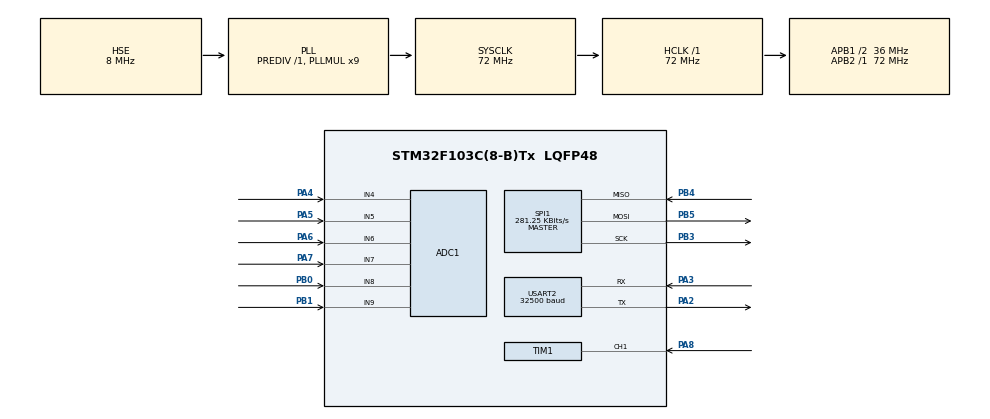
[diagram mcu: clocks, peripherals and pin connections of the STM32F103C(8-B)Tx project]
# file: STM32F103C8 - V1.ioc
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ADC1.Channel-2\#ChannelRegularConversion=ADC_CHANNEL_4
ADC1.NbrOfConversionFlag=1
ADC1.Rank-2\#ChannelRegularConversion=1
ADC1.SamplingTime-2\#ChannelRegularConversion=ADC_SAMPLETIME_1CYCLE_5
ADC1.master=1
Mcu.Family=STM32F1
Mcu.Name=STM32F103C(8-B)Tx
Mcu.Package=LQFP48
NVIC.PriorityGroup=NVIC_PRIORITYGROUP_2
PA2.Mode=Asynchronous
PA2.Signal=USART2_TX
PA3.Mode=Asynchronous
PA3.Signal=USART2_RX
PA4.Signal=ADCx_IN4
PA5.Signal=ADCx_IN5
PA6.Signal=ADCx_IN6
PA7.Signal=ADCx_IN7
PA8.Signal=S_TIM1_CH1
PB0.Signal=ADCx_IN8
PB1.Signal=ADCx_IN9
PB3.Mode=Full_Duplex_Master
PB3.Signal=SPI1_SCK
PB4.Mode=Full_Duplex_Master
PB4.Signal=SPI1_MISO
PB5.Mode=Full_Duplex_Master
PB5.Signal=SPI1_MOSI
PD0-OSC_IN.Mode=HSE-External-Oscillator
PD0-OSC_IN.Signal=RCC_OSC_IN
PD1-OSC_OUT.Mode=HSE-External-Oscillator
PD1-OSC_OUT.Signal=RCC_OSC_OUT
ProjectManager.HeapSize=0x200
ProjectManager.StackSize=0x400
ProjectManager.TargetToolchain=SW4STM32
RCC.ADCPresc=RCC_ADCPCLK2_DIV6
RCC.AHBFreq_Value=72000000
RCC.APB1CLKDivider=RCC_HCLK_DIV2
RCC.APB1Freq_Value=36000000
RCC.APB1TimFreq_Value=72000000
RCC.APB2Freq_Value=72000000
RCC.APB2TimFreq_Value=72000000
RCC.HCLKFreq_Value=72000000
RCC.PLLMUL=RCC_PLL_MUL9
RCC.PLLSourceVirtual=RCC_PLLSOURCE_HSE
RCC.SYSCLKFreq_VALUE=72000000
RCC.SYSCLKSource=RCC_SYSCLKSOURCE_PLLCLK
RCC.USBFreq_Value=72000000
SH.ADCx_IN4.0=ADC1_IN4,IN4
SH.ADCx_IN5.0=ADC1_IN5,IN5
SH.ADCx_IN6.0=ADC1_IN6,IN6
SH.ADCx_IN7.0=ADC1_IN7,IN7
SH.ADCx_IN8.0=ADC1_IN8,IN8
SH.ADCx_IN9.0=ADC1_IN9,IN9
SH.S_TIM1_CH1.0=TIM1_CH1,Input_Capture1_from_TI1
SPI1.BaudRatePrescaler=SPI_BAUDRATEPRESCALER_256
SPI1.CLKPolarity=SPI_POLARITY_HIGH
SPI1.CalculateBaudRate=281.25 KBits/s
SPI1.Direction=SPI_DIRECTION_2LINES
SPI1.Mode=SPI_MODE_MASTER
SPI1.VirtualType=VM_MASTER
TIM1.Channel-Input_Capture1_from_TI1=TIM_CHANNEL_1
TIM1.ICPolarity_CH1=TIM_INPUTCHANNELPOLARITY_FALLING
USART2.BaudRate=32500
USART2.VirtualMode=VM_ASYNC
VP_SYS_VS_ND.Mode=No_Debug
board=custom

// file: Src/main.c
/* USER CODE BEGIN Header */
/**
  ******************************************************************************
  * @file			main.c
  * @brief        	Header for main.c file.
  *               	This file contains the common defines of the application.
  * @version		V1.00
  * @authors		Oehlers, van Renswoude and Schotborgh
  * @date			06-01-2020
  ******************************************************************************
  * @details
  ******************************************************************************
*/
/* USER CODE END Header */

#include "main.h"

/* USER CODE BEGIN Includes */
#include "includes.h"
/* USER CODE END Includes */

/* USER CODE BEGIN PV */
uint8_t ReceiveFlag = FALSE; 	/**< flag to indicate whether a uart message is received */
uint8_t data;				 	/**< byte for storing the received uart data */

/* USER CODE END PV */

void SystemClock_Config(void);
static void MX_GPIO_Init(void);
static void MX_ADC1_Init(void);
static void MX_USART2_UART_Init(void);
static void MX_SPI1_Init(void);
static void MX_TIM1_Init(void);
/* USER CODE BEGIN PFP */
void GPIO_Init(void);

/* USER CODE END PFP */

void main(void)
{

  /* MCU Configuration--------------------------------------------------------*/

  /* Reset of all peripherals, Initializes the Flash interface and the Systick. */
  HAL_Init();

  /* Configure the system clock */
  SystemClock_Config();

  /* Initialize all configured peripherals */
  MX_GPIO_Init();
  MX_ADC1_Init();
  MX_USART2_UART_Init();
  MX_SPI1_Init();
  MX_TIM1_Init();
  /* USER CODE BEGIN 2 */
	GPIO_Init();
	//YM_RESET();  // reset the YM3812 chips
	//YM_SET_Def(); // set the default settings for the YM3812 chips
	//HAL_Delay(200);
	//HAL_UART_Receive_IT(&huart2, &data, 1); // enable the receive under interrupt mode for UART2

  /* USER CODE END 2 */
  /* Infinite loop */
	while (1)
	{

	}
}

void SystemClock_Config(void)
{
  RCC_OscInitTypeDef RCC_OscInitStruct = {0};
  RCC_ClkInitTypeDef RCC_ClkInitStruct = {0};
  RCC_PeriphCLKInitTypeDef PeriphClkInit = {0};

  /** Initializes the CPU, AHB and APB busses clocks
  */
  RCC_OscInitStruct.OscillatorType = RCC_OSCILLATORTYPE_HSE;
  RCC_OscInitStruct.HSEState = RCC_HSE_ON;
  RCC_OscInitStruct.HSEPredivValue = RCC_HSE_PREDIV_DIV1;
  RCC_OscInitStruct.HSIState = RCC_HSI_ON;
  RCC_OscInitStruct.PLL.PLLState = RCC_PLL_ON;
  RCC_OscInitStruct.PLL.PLLSource = RCC_PLLSOURCE_HSE;
  RCC_OscInitStruct.PLL.PLLMUL = RCC_PLL_MUL9;
  if (HAL_RCC_OscConfig(&RCC_OscInitStruct) != HAL_OK)
  {
    Error_Handler();
  }
  /** Initializes the CPU, AHB and APB busses clocks
  */
  RCC_ClkInitStruct.ClockType = RCC_CLOCKTYPE_HCLK|RCC_CLOCKTYPE_SYSCLK
                              |RCC_CLOCKTYPE_PCLK1|RCC_CLOCKTYPE_PCLK2;
  RCC_ClkInitStruct.SYSCLKSource = RCC_SYSCLKSOURCE_PLLCLK;
  RCC_ClkInitStruct.AHBCLKDivider = RCC_SYSCLK_DIV1;
  RCC_ClkInitStruct.APB1CLKDivider = RCC_HCLK_DIV2;
  RCC_ClkInitStruct.APB2CLKDivider = RCC_HCLK_DIV1;

  if (HAL_RCC_ClockConfig(&RCC_ClkInitStruct, FLASH_LATENCY_2) != HAL_OK)
  {
    Error_Handler();
  }
  PeriphClkInit.PeriphClockSelection = RCC_PERIPHCLK_ADC;
  PeriphClkInit.AdcClockSelection = RCC_ADCPCLK2_DIV6;
  if (HAL_RCCEx_PeriphCLKConfig(&PeriphClkInit) != HAL_OK)
  {
    Error_Handler();
  }
}

static void MX_ADC1_Init(void)
{

  /* USER CODE BEGIN ADC1_Init 0 */
  // hadc1 struct voor oproepen ADC
  /* USER CODE END ADC1_Init 0 */

  ADC_ChannelConfTypeDef sConfig = {0};

  /** Common config
  */
  hadc1.Instance = ADC1;
  hadc1.Init.ScanConvMode = ADC_SCAN_DISABLE;
  hadc1.Init.ContinuousConvMode = DISABLE;
  hadc1.Init.DiscontinuousConvMode = DISABLE;
  hadc1.Init.ExternalTrigConv = ADC_SOFTWARE_START;
  hadc1.Init.DataAlign = ADC_DATAALIGN_RIGHT;
  hadc1.Init.NbrOfConversion = 1;
  if (HAL_ADC_Init(&hadc1) != HAL_OK)
  {
    Error_Handler();
  }
  /** Configure Regular Channel
  */
  sConfig.Channel = ADC_CHANNEL_4;
  sConfig.Rank = ADC_REGULAR_RANK_1;
  sConfig.SamplingTime = ADC_SAMPLETIME_1CYCLE_5;
  if (HAL_ADC_ConfigChannel(&hadc1, &sConfig) != HAL_OK)
  {
    Error_Handler();
  }

}

static void MX_SPI1_Init(void)
{

  /* SPI1 parameter configuration*/
  hspi1.Instance = SPI1;
  hspi1.Init.Mode = SPI_MODE_MASTER;
  hspi1.Init.Direction = SPI_DIRECTION_2LINES;
  hspi1.Init.DataSize = SPI_DATASIZE_8BIT;
  hspi1.Init.CLKPolarity = SPI_POLARITY_LOW;
  hspi1.Init.CLKPhase = SPI_PHASE_1EDGE;
  hspi1.Init.NSS = SPI_NSS_SOFT;
  hspi1.Init.BaudRatePrescaler = SPI_BAUDRATEPRESCALER_256;
  hspi1.Init.FirstBit = SPI_FIRSTBIT_MSB;
  hspi1.Init.TIMode = SPI_TIMODE_DISABLE;
  hspi1.Init.CRCCalculation = SPI_CRCCALCULATION_DISABLE;
  hspi1.Init.CRCPolynomial = 10;
  if (HAL_SPI_Init(&hspi1) != HAL_OK)
  {
    Error_Handler();
  }
  /* USER CODE BEGIN SPI1_Init 2 */
  HAL_NVIC_SetPriority(SPI1_IRQn, 1, 1); //<--------------------
  HAL_NVIC_EnableIRQ(SPI1_IRQn);
  /* USER CODE END SPI1_Init 2 */

}

static void MX_TIM1_Init(void)
{

  TIM_MasterConfigTypeDef sMasterConfig = {0};
  TIM_IC_InitTypeDef sConfigIC = {0};

  htim1.Instance = TIM1;
  htim1.Init.Prescaler = 0;
  htim1.Init.CounterMode = TIM_COUNTERMODE_UP;
  htim1.Init.Period = 0;
  htim1.Init.ClockDivision = TIM_CLOCKDIVISION_DIV1;
  htim1.Init.RepetitionCounter = 0;
  htim1.Init.AutoReloadPreload = TIM_AUTORELOAD_PRELOAD_DISABLE;
  if (HAL_TIM_IC_Init(&htim1) != HAL_OK)
  {
    Error_Handler();
  }
  sMasterConfig.MasterOutputTrigger = TIM_TRGO_RESET;
  sMasterConfig.MasterSlaveMode = TIM_MASTERSLAVEMODE_DISABLE;
  if (HAL_TIMEx_MasterConfigSynchronization(&htim1, &sMasterConfig) != HAL_OK)
  {
    Error_Handler();
  }
  sConfigIC.ICPolarity = TIM_INPUTCHANNELPOLARITY_FALLING;
  sConfigIC.ICSelection = TIM_ICSELECTION_DIRECTTI;
  sConfigIC.ICPrescaler = TIM_ICPSC_DIV1;
  sConfigIC.ICFilter = 0;
  if (HAL_TIM_IC_ConfigChannel(&htim1, &sConfigIC, TIM_CHANNEL_1) != HAL_OK)
  {
    Error_Handler();
  }

}

static void MX_USART2_UART_Init(void)
{

  huart2.Instance = USART2;
  huart2.Init.BaudRate = 32500;
  huart2.Init.WordLength = UART_WORDLENGTH_8B;
  huart2.Init.StopBits = UART_STOPBITS_1;
  huart2.Init.Parity = UART_PARITY_NONE;
  huart2.Init.Mode = UART_MODE_TX_RX;
  huart2.Init.HwFlowCtl = UART_HWCONTROL_NONE;
  huart2.Init.OverSampling = UART_OVERSAMPLING_16;
  if (HAL_UART_Init(&huart2) != HAL_OK)
  {
    Error_Handler();
  }
  /* USER CODE BEGIN USART2_Init 2 */

  HAL_NVIC_SetPriority(USART2_IRQn, 0, 0);
  HAL_NVIC_EnableIRQ(USART2_IRQn);

  /* USER CODE END USART2_Init 2 */

}

static void MX_GPIO_Init(void)
{

  /* GPIO Ports Clock Enable */
  __HAL_RCC_GPIOD_CLK_ENABLE();
  __HAL_RCC_GPIOA_CLK_ENABLE();
  __HAL_RCC_GPIOB_CLK_ENABLE();

}

/* USER CODE BEGIN 4 */
/**
  ******************************************************************************
  * @brief			The application entry point.
  * @headerfile x.h ""
  * @param 			None
  * @val
  * @return None
  ******************************************************************************
  * @details
  ******************************************************************************
  */
void GPIO_Init()
{
	GPIO_InitTypeDef GPIO_InitStruct = {0};

	// ADC1_IN0
	GPIO_InitStruct.Pin = GPIO_PIN_0;
	GPIO_InitStruct.Mode = GPIO_MODE_ANALOG;
	GPIO_InitStruct.Pull = GPIO_NOPULL;
	HAL_GPIO_Init(GPIOA, &GPIO_InitStruct);

	// ADC1_IN1
	GPIO_InitStruct.Pin = GPIO_PIN_1;
	GPIO_InitStruct.Mode = GPIO_MODE_ANALOG;
	GPIO_InitStruct.Pull = GPIO_NOPULL;
	HAL_GPIO_Init(GPIOA, &GPIO_InitStruct);

	// ADC1_IN4
	GPIO_InitStruct.Pin = GPIO_PIN_4;
	GPIO_InitStruct.Mode = GPIO_MODE_ANALOG;
	GPIO_InitStruct.Pull = GPIO_NOPULL;
	HAL_GPIO_Init(GPIOA, &GPIO_InitStruct);

	// ADC1_IN5
	GPIO_InitStruct.Pin = GPIO_PIN_5;
	GPIO_InitStruct.Mode = GPIO_MODE_ANALOG;
	GPIO_InitStruct.Pull = GPIO_NOPULL;
	HAL_GPIO_Init(GPIOA, &GPIO_InitStruct);

	// ADC1_IN6
	GPIO_InitStruct.Pin = GPIO_PIN_6;
	GPIO_InitStruct.Mode = GPIO_MODE_ANALOG;
	GPIO_InitStruct.Pull = GPIO_PULLUP;
	HAL_GPIO_Init(GPIOA, &GPIO_InitStruct);

	// ADC1_IN7
	GPIO_InitStruct.Pin = GPIO_PIN_7;
	GPIO_InitStruct.Mode = GPIO_MODE_ANALOG;
	GPIO_InitStruct.Pull = GPIO_NOPULL;
	HAL_GPIO_Init(GPIOA, &GPIO_InitStruct);

	// ADC1_IN8
	GPIO_InitStruct.Pin = GPIO_PIN_0;
	GPIO_InitStruct.Mode = GPIO_MODE_ANALOG;
	GPIO_InitStruct.Pull = GPIO_NOPULL;
	HAL_GPIO_Init(GPIOB, &GPIO_InitStruct);

	// ADC1_IN9
	GPIO_InitStruct.Pin = GPIO_PIN_1;
	GPIO_InitStruct.Mode = GPIO_MODE_ANALOG;
	GPIO_InitStruct.Pull = GPIO_NOPULL;
	HAL_GPIO_Init(GPIOB, &GPIO_InitStruct);

	//I2C_CLOCK
	GPIO_InitStruct.Pin = GPIO_PIN_10;
	GPIO_InitStruct.Mode = GPIO_MODE_AF_OD;
	GPIO_InitStruct.Speed = GPIO_SPEED_FREQ_HIGH;
	GPIO_InitStruct.Pull = GPIO_NOPULL;
	HAL_GPIO_Init(GPIOB, &GPIO_InitStruct);

	//I2C_DATA
	GPIO_InitStruct.Pin = GPIO_PIN_11;
	GPIO_InitStruct.Mode = GPIO_MODE_AF_OD;
	GPIO_InitStruct.Speed = GPIO_SPEED_FREQ_HIGH;
	GPIO_InitStruct.Pull = GPIO_NOPULL;
	HAL_GPIO_Init(GPIOB, &GPIO_InitStruct);

	//YM_RST
	GPIO_InitStruct.Pin = GPIO_PIN_8;
	GPIO_InitStruct.Mode = GPIO_MODE_INPUT;
	GPIO_InitStruct.Speed = GPIO_SPEED_FREQ_LOW;
	HAL_GPIO_Init(GPIOA, &GPIO_InitStruct);

	GPIO_InitStruct.Pin = GPIO_PIN_14;
	GPIO_InitStruct.Mode = GPIO_MODE_INPUT;
	GPIO_InitStruct.Speed = GPIO_SPEED_FREQ_HIGH;
	HAL_GPIO_Init(GPIOB, &GPIO_InitStruct);

	//YM3812 PINS PART 1
	GPIO_InitStruct.Pin = GPIO_PIN_6 | GPIO_PIN_7 | GPIO_PIN_8 | GPIO_PIN_9 | GPIO_PIN_12 | GPIO_PIN_13;
	GPIO_InitStruct.Mode = GPIO_MODE_OUTPUT_PP;
	GPIO_InitStruct.Speed = GPIO_SPEED_FREQ_HIGH;
	GPIO_InitStruct.Pull = GPIO_PULLDOWN;
	HAL_GPIO_Init(GPIOB, &GPIO_InitStruct);

	//YM3812 PINS PART 2
	GPIO_InitStruct.Pin = GPIO_PIN_6 |GPIO_PIN_7 |GPIO_PIN_9 | GPIO_PIN_10 | GPIO_PIN_11 | GPIO_PIN_12 | GPIO_PIN_13 | GPIO_PIN_14;
	GPIO_InitStruct.Mode = GPIO_MODE_OUTPUT_PP;
	GPIO_InitStruct.Speed = GPIO_SPEED_FREQ_HIGH;
	GPIO_InitStruct.Pull = GPIO_PULLUP;
	HAL_GPIO_Init(GPIOA, &GPIO_InitStruct);

	//LED PIN - Voor nu pinnen d0-d1 voor YM aansturing
	GPIO_InitStruct.Pin = GPIO_PIN_13 | GPIO_PIN_14;
	GPIO_InitStruct.Mode = GPIO_MODE_OUTPUT_PP;
	GPIO_InitStruct.Speed = GPIO_SPEED_FREQ_HIGH;
	GPIO_InitStruct.Pull = GPIO_PULLDOWN;
	HAL_GPIO_Init(GPIOC, &GPIO_InitStruct);
}

/**
  ******************************************************************************
  * @brief			The application entry point.
  * @headerfile x.h ""
  * @param 			None
  * @val
  * @return None
  ******************************************************************************
  * @details
  ******************************************************************************
  */
void USART2_IRQHandler(void)
{
	HAL_UART_IRQHandler(&huart2); // calls the callback function
}

void HAL_UART_RxCpltCallback(UART_HandleTypeDef *huart)
{
	ReceiveFlag = TRUE;						// set the receiveflag
	HAL_UART_Receive_IT(&huart2, &data, 1); // enable receive under interrupt mode again
}

/* USER CODE END 4 */

void Error_Handler(void)
{
}

/************************ (C) COPYRIGHT STMicroelectronics *****END OF FILE****/
